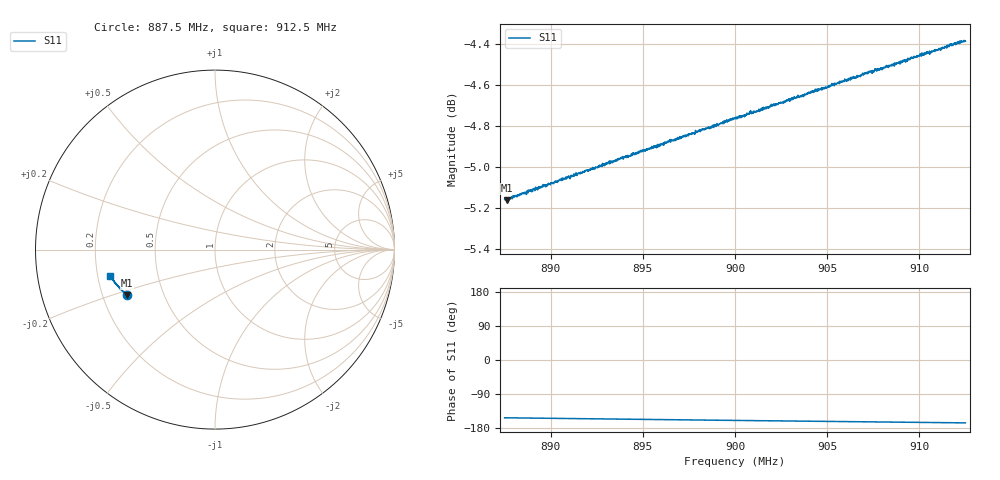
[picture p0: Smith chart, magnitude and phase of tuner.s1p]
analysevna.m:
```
load('vnaAccuracy.mat');

params = dlmread('tuner.s1p','\t',6,0);
freqs = params(:,1);
iabs = interp1(freqs, params(:,2), testfreqs);
iangle = interp1(freqs, params(:,3), testfreqs);

v = mean(results,3);
m = 20*log10(abs(v));
a = 180/pi*angle(v);

mdiff = abs((abs(v) - 10.^(repmat(iabs,4,1)/20))); %./repmat(iabs,4,1))*100;
adiff = abs(a - repmat(iangle,4,1));

merr = std(abs(results),0,3)/sqrt(size(results,3))*1.96;
aerr = std(180/pi*angle(results),0,3)/sqrt(size(results,3))*1.96;

subplot(2,2,1);
plot(mdiff.');
legend(strcat('p=',strtrim(cellstr(num2str(powers.')))));
title('magnitude diff');
subplot(2,2,2);
plot(adiff.');
legend(strcat('p=',strtrim(cellstr(num2str(powers.')))));
title('angle diff');

subplot(2,2,3);
plot(merr.');
legend(strcat('p=',strtrim(cellstr(num2str(powers.')))));
title('magnitude var');
subplot(2,2,4);
plot(aerr.');
legend(strcat('p=',strtrim(cellstr(num2str(powers.')))));
title('angle var');
```
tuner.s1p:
!Agilent Technologies,E8364A,US41440334,A.07.50.37
!Agilent E8364A: A.07.50.37
!Date: Wednesday, July 29, 2015 12:12:57
!Correction: S33(Full 1 Port(3))
!S1P File: Measurement: S33:
# Hz S  dB  R 50
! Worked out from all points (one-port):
!   1601 points, 887.5 MHz to 912.5 MHz, reference 50 ohm
!   lowest |S11| = -5.2 dB at 887.61 MHz (marker M1), VSWR 3.46, Z = 15.2 - j11.2 ohm
!   |S11| at or under -10 dB: nowhere
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8.875e8  -5.16 -152.5
8.876094e8  -5.16 -152.5
8.914531e8  -5.03 -154.7
8.937812e8  -4.96 -156.0
8.958438e8  -4.89 -157.1
8.998594e8  -4.77 -159.3
9.041719e8  -4.64 -161.6
9.062969e8  -4.56 -162.8
9.086094e8  -4.50 -164.0
9.092188e8  -4.48 -164.2
9.096406e8  -4.47 -164.5
9.1125e8  -4.42 -165.3
9.118281e8  -4.40 -165.6
9.125e8  -4.39 -165.9
